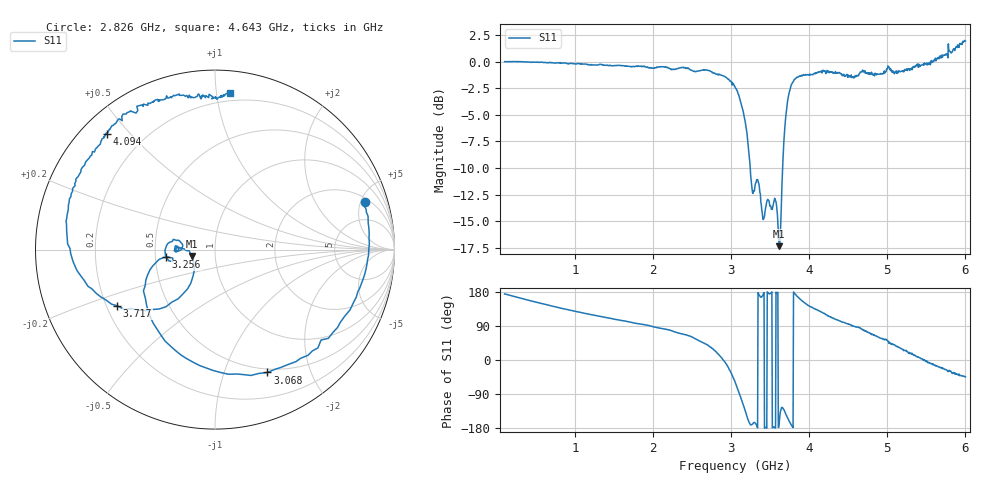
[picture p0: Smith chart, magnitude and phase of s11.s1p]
! Created with skrf 1.9.0 (http://scikit-rf.org).
# MHz S RI R 50.0
!freq ReS11 ImS11
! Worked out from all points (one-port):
!   1001 points, 100 MHz to 6 GHz, reference 50 ohm
!   lowest |S11| = -17.4 dB at 3.616 GHz (marker M1), VSWR 1.31, Z = 38.4 - j2.78 ohm
!   |S11| at or under -10 dB: 3.245 GHz to 3.66 GHz (414.8 MHz wide, 12 % of centre)
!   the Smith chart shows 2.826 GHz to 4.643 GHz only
!   S11 on the Smith chart (normalised r, x): 2.826 GHz: 2.42, +5.41; 3.068 GHz: 0.46, -1.41; 3.256 GHz: 0.57, -0.05; 3.717 GHz: 0.24, -0.25; 4.094 GHz: 0.07, +0.43; 4.643 GHz: 0.14, +1.09
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100  -0.9961 0.0954
837.5  -0.7075 0.6861
1575  -0.2502 0.9272
2312.5  0.2832 0.8837
2666.5  0.6668 0.6223
2825.8  0.8332 0.2642
2949.7  0.8067 -0.2136
3050  0.4099 -0.6393
3067.7  0.2919 -0.6846
3120.8  -0.085 -0.6463
3173.9  -0.3421 -0.4137
3209.3  -0.3891 -0.2003
3256.5  -0.2733 -0.0431
3380.4  -0.213 0.0512
3563.3  -0.2259 -0.00399
3616.4  -0.1307 -0.0356
3657.7  -0.1779 -0.2464
3716.7  -0.5445 -0.3131
3787.5  -0.7966 -0.0479
3923.2  -0.7748 0.3813
4094.3  -0.6029 0.6467
4265.4  -0.374 0.8167
4525  -0.0508 0.8578
4643  0.0816 0.874
4997  0.5636 0.7311
5262.5  0.8603 0.3395
5628.3  0.9929 -0.2817
6000  0.8952 -0.8732
